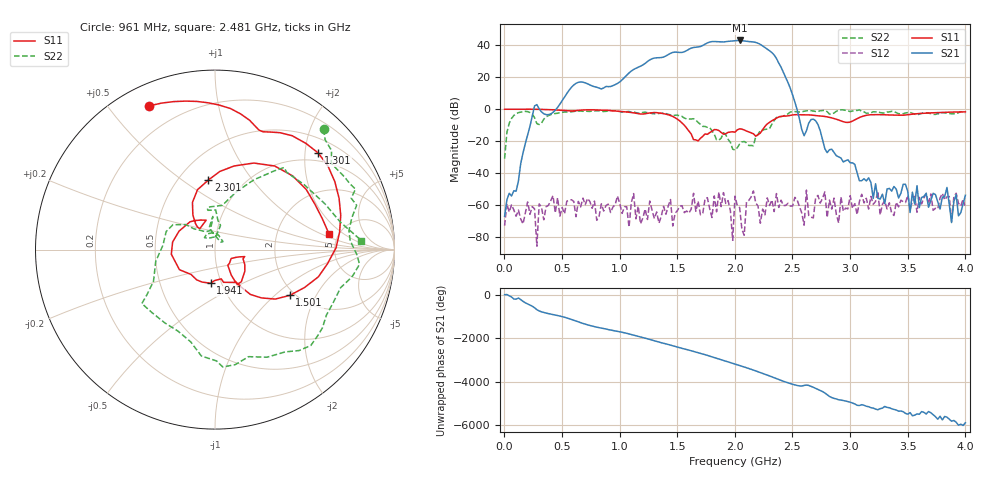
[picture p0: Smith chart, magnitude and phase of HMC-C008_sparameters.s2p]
!Hittite Microwave Corporation
!20 Alpha Road
!Chelmsford, MA 01824
!Tel: 978-250-3343
!Fax: 978-250-3373
!Device: HMC-C008, 1.8-2.2 GHz, 15W PA Module
!Misc: Vdd = +14V, Idd = 6.5 A, Room Temperature
# GHZ S DB R 50
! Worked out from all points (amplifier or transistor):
!   201 points, 1 MHz to 4.001 GHz, reference 50 ohm
!   highest |S21| = 42.9 dB at 2.041 GHz (marker M1)
!   |S21| within 3 dB of that: 1.724 GHz to 2.232 GHz (507.8 MHz wide, 25.7 % of centre)
!   unconditionally stable (mu >= 1): start of sweep to 144.6 MHz; 259.6 MHz to 671.9 MHz; 738.2 MHz to end of sweep
!   at 661 MHz: K = 2.39, MAG = 32.4 dB, |S12| = -61.0 dB
!   at 2.001 GHz: K = 1.94, MAG = 42.9 dB, |S12| = -54.2 dB
!   at 4.001 GHz: K = 36433.61, MAG = -44.6 dB, |S12| = -61.6 dB
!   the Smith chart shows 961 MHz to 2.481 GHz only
!   S11 on the Smith chart (normalised r, x): 961 MHz: 0.09, +0.64; 1.301 GHz: 0.81, +2.29; 1.501 GHz: 1.88, -1.26; 1.941 GHz: 0.89, -0.35; 2.301 GHz: 0.69, +0.63; 2.481 GHz: 4.21, +1.22
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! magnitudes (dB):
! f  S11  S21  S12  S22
! 1 MHz  0.0  -66.8  -72.7  -30.8
! 61 MHz  0.0  -54.1  -59.6  -5.8
! 261 MHz  0.0  2.1  -62.2  -5.3
! 281 MHz  0.0  2.9  -85.5  -9.0
! 301 MHz  -0.1  0.3  -59.1  -9.6
! 681 MHz  -0.5  16.9  -55.5  -1.3
! 961 MHz  -1.1  15.4  -59.5  -0.9
! 1.301 GHz  -2.1  31.9  -68.2  -2.8
! 1.341 GHz  -2.3  32.1  -71.1  -2.6
! 1.501 GHz  -6.2  35.6  -63.3  -3.7
! 1.941 GHz  -14.5  42.3  -57.0  -18.8
! 1.981 GHz  -14.1  42.6  -81.8  -25.0
! 2.021 GHz  -12.9  42.9  -60.2  -24.0
! 2.041 GHz  -12.2  42.9  -61.3  -21.8
! 2.301 GHz  -8.2  36.5  -60.1  -12.1
! 2.481 GHz  -3.9  13.1  -60.5  -1.8
! 2.601 GHz  -3.5  -16.5  -72.4  -1.2
! 2.621 GHz  -3.5  -13.4  -50.5  -1.1
! 2.681 GHz  -3.8  -6.2  -67.8  -1.2
! 3.341 GHz  -3.6  -49.4  -58.4  -1.6
! 3.881 GHz  -1.8  -70.8  -70.0  -2.9
! 4.001 GHz  -1.6  -53.7  -61.6  -2.2
